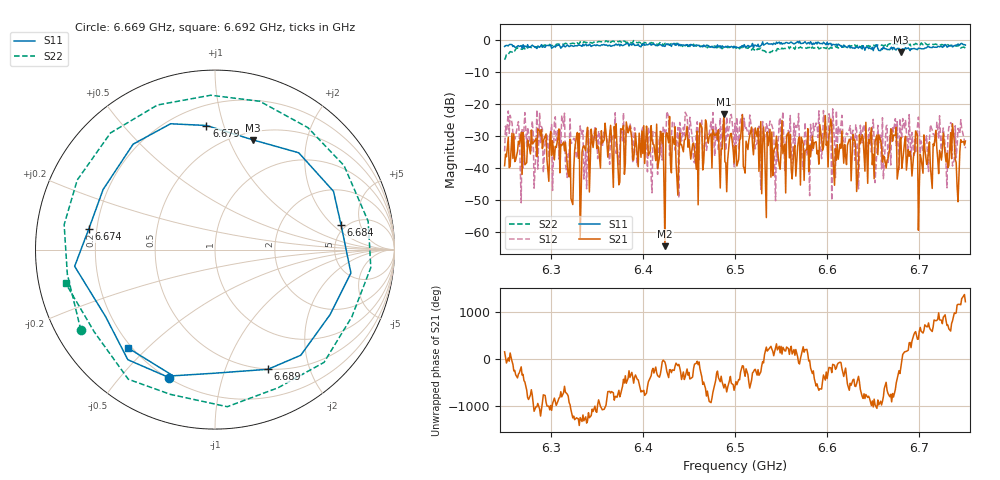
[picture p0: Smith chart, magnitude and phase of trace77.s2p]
# Hz S RI R 50
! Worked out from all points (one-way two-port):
!   401 points, 6.25 GHz to 6.75 GHz, reference 50 ohm
!   highest |S21| = -23.09 dB at 6.488 GHz (marker M1); lowest = -64.3 dB at 6.424 GHz (marker M2)
!   lowest |S11| = -3.8 dB at 6.68 GHz (marker M3), VSWR 4.66, Z = 29.3 + j61.5 ohm
!   |S11| at or under -10 dB: nowhere
!   |S22| runs from -6.1 to -0.1 dB; largest |S21 - S12| = 0.13
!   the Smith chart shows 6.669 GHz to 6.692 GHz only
!   S11 on the Smith chart (normalised r, x): 6.669 GHz: 0.20, -0.69; 6.674 GHz: 0.17, +0.08; 6.679 GHz: 0.33, +0.88; 6.684 GHz: 4.58, +2.54; 6.689 GHz: 0.50, -1.42; 6.692 GHz: 0.19, -0.44
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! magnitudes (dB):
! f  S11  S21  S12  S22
! 6.25 GHz  -1.9  -39.2  -34.7  -6.1
! 6.289 GHz  -1.9  -29.9  -32.5  -1.8
! 6.321 GHz  -1.8  -30.9  -24.5  -1.1
! 6.334 GHz  -1.9  -34.9  -29.8  -0.7
! 6.346 GHz  -1.6  -33.5  -31.9  -0.7
! 6.418 GHz  -1.3  -36.6  -30.2  -1.0
! 6.424 GHz  -1.9  -64.3  -28.6  -1.0
! 6.488 GHz  -2.2  -23.1  -23.9  -2.0
! 6.5 GHz  -2.3  -33.2  -25.9  -2.1
! 6.584 GHz  -1.4  -29.9  -34.4  -2.1
! 6.668 GHz  -2.9  -33.7  -29.8  -1.1
! 6.669 GHz  -2.4  -27.6  -38.9  -1.2
! 6.674 GHz  -2.9  -29.7  -24.5  -1.2
! 6.679 GHz  -3.2  -31.4  -24.5  -1.4
! 6.68 GHz  -3.8  -30.3  -28.9  -1.3
! 6.684 GHz  -2.9  -31.9  -27.8  -1.4
! 6.689 GHz  -2.7  -36.2  -23.2  -1.5
! 6.692 GHz  -2.7  -42.4  -28.8  -1.4
! 6.701 GHz  -2.5  -35.6  -35.4  -1.5
! 6.736 GHz  -2.1  -26.1  -39.3  -1.7
! 6.741 GHz  -1.5  -45.7  -33.1  -1.8
! 6.75 GHz  -1.5  -31.5  -33.7  -2.4
